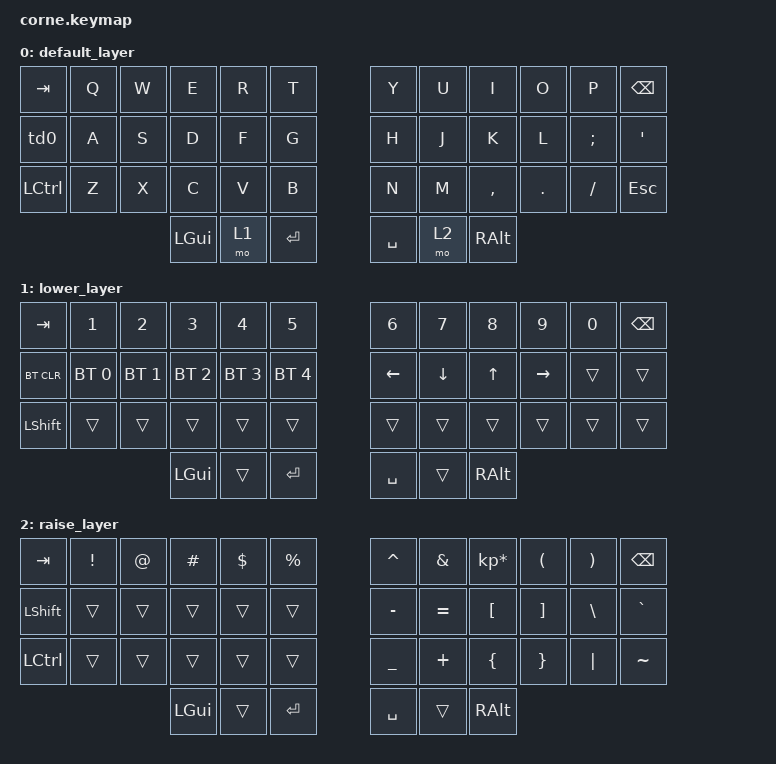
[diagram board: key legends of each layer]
/*
 * Copyright (c) 2020 The ZMK Contributors
 *
 * SPDX-License-Identifier: MIT
 */

#include <behaviors.dtsi>
#include <dt-bindings/zmk/keys.h>
#include <dt-bindings/zmk/bt.h>

&caps_word {
    continue-list = <UNDERSCORE MINUS>;
};

/ {
        behaviors {
                td0: tap_dance_0 {
                compatible = "zmk,behavior-tap-dance";
                label = "TAP_DANCE_0";
                #binding-cells = <0>;
                tapping-term-ms = <200>;
                bindings = <&sk LSHFT>, <&caps_word>;
                };
        };

        keymap {
                compatible = "zmk,keymap";

                default_layer {
// -----------------------------------------------------------------------------------------
// |  TAB |  Q  |  W  |  E  |  R  |  T  |   |  Y  |  U   |  I  |  O  |  P  | BKSP |
// | SHFT |  A  |  S  |  D  |  F  |  G  |   |  H  |  J   |  K  |  L  |  ;  |  '   |
// | CTRL |  Z  |  X  |  C  |  V  |  B  |   |  N  |  M   |  ,  |  .  |  /  | ESC  |
//                    | GUI | LWR | SPC |   | ENT | RSE  | ALT |
                        bindings = <
   &kp TAB   &kp Q &kp W &kp E &kp R &kp T   &kp Y &kp U  &kp I     &kp O   &kp P    &kp BSPC
   &td0 &kp A &kp S &kp D &kp F &kp G   &kp H &kp J  &kp K     &kp L   &kp SEMI &kp SQT
   &kp LCTRL &kp Z &kp X &kp C &kp V &kp B   &kp N &kp M  &kp COMMA &kp DOT &kp FSLH &kp ESC
                  &kp LGUI &mo 1 &kp RET   &kp SPACE &mo 2 &kp RALT
                        >;
                };
                lower_layer {
// -----------------------------------------------------------------------------------------
// |  TAB |  1  |  2  |  3  |  4  |  5  |   |  6  |  7  |  8  |  9  |  0  | BKSP |
// | BTCLR| BT1 | BT2 | BT3 | BT4 | BT5 |   | LFT | DWN |  UP | RGT |     |      |
// | SHFT |     |     |     |     |     |   |     |     |     |     |     |      |
//                    | GUI |     | SPC |   | ENT |     | ALT |
                        bindings = <
   &kp TAB    &kp N1       &kp N2       &kp N3       &kp N4       &kp N5         &kp N6   &kp N7   &kp N8 &kp N9    &kp N0 &kp BSPC
   &bt BT_CLR &bt BT_SEL 0 &bt BT_SEL 1 &bt BT_SEL 2 &bt BT_SEL 3 &bt BT_SEL 4   &kp LEFT &kp DOWN &kp UP &kp RIGHT &trans &trans
   &kp LSHFT  &trans       &trans       &trans       &trans       &trans         &trans   &trans   &trans &trans    &trans &trans
                                    &kp LGUI     &trans       &kp RET      &kp SPACE  &trans   &kp RALT
                        >;
                };

                raise_layer {
// -----------------------------------------------------------------------------------------
// |  TAB |  !  |  @  |  #  |  $  |  %  |   |  ^  |  &  |  *  |  (  |  )  | BKSP |
// | SHFT |     |     |     |     |     |   |  -  |  =  |  [  |  ]  |  \  |  `   |
// | CTRL |     |     |     |     |     |   |  _  |  +  |  {  |  }  | "|" |  ~   |
//                    | GUI |     | SPC |   | ENT |     | ALT |
                        bindings = <
   &kp  TAB  &kp EXCL &kp AT &kp HASH &kp DLLR &kp PRCNT   &kp CARET &kp AMPS  &kp KP_MULTIPLY &kp LPAR &kp RPAR &kp BSPC
   &kp LSHFT &trans   &trans &trans   &trans   &trans      &kp MINUS &kp EQUAL &kp LBKT        &kp RBKT &kp BSLH &kp GRAVE
   &kp LCTRL &trans   &trans &trans   &trans   &trans      &kp UNDER &kp PLUS  &kp LBRC        &kp RBRC &kp PIPE &kp TILDE
                             &kp LGUI &trans   &kp RET   &kp SPACE   &trans    &kp RALT
                        >;
                };
        };
};
